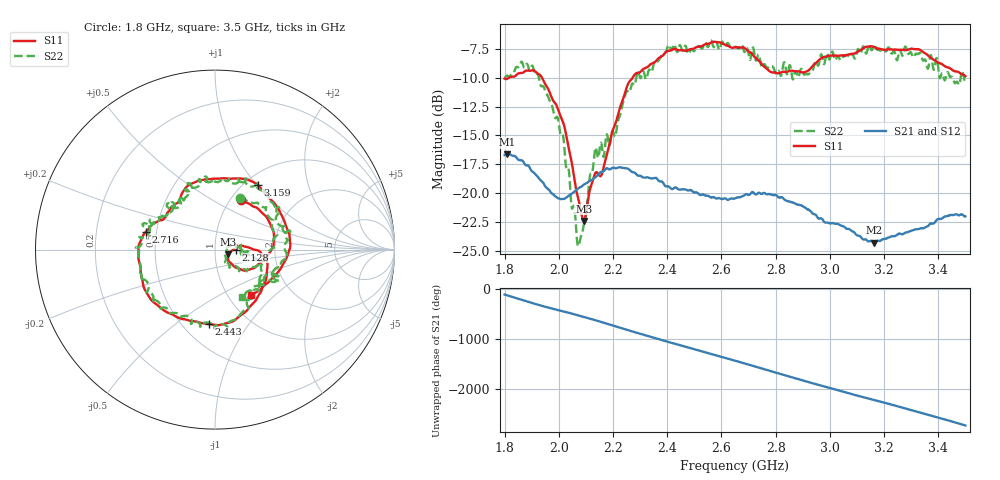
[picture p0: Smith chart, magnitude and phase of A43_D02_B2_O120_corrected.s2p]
! Created with skrf 1.9.0 (http://scikit-rf.org).
# Hz S RI R 50.0
!freq ReS11 ImS11 ReS21 ImS21 ReS12 ImS12 ReS22 ImS22
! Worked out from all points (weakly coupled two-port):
!   1601 points, 1.8 GHz to 3.5 GHz, reference 50 ohm
!   highest |S21| = -16.62 dB at 1.81 GHz (marker M1); lowest = -24.3 dB at 3.163 GHz (marker M2)
!   lowest |S11| = -22.4 dB at 2.092 GHz (marker M3), VSWR 1.16, Z = 57.6 - j3.02 ohm
!   |S11| at or under -10 dB: start of sweep to 1.816 GHz; 1.938 GHz to 2.272 GHz (334.3 MHz wide, 15.9 % of centre)
!   |S22| runs from -24.6 to -6.8 dB; largest |S21 - S12| = 0.0025
!   S11 on the Smith chart (normalised r, x): 1.8 GHz: 1.12, +0.69; 2.128 GHz: 1.26, +0.00; 2.443 GHz: 0.67, -0.67; 2.716 GHz: 0.44, +0.10; 3.159 GHz: 1.14, +1.01; 3.5 GHz: 1.27, -0.71
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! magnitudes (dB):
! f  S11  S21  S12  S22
! 1.8 GHz  -10.1  -16.7  -16.7  -10.0
! 1.81 GHz  -10.1  -16.6  -16.6  -9.8
! 1.864 GHz  -9.6  -17.2  -17.2  -8.6
! 1.951 GHz  -10.6  -19.4  -19.4  -11.2
! 2.019 GHz  -14.1  -20.5  -20.5  -15.6
! 2.07 GHz  -20.3  -19.6  -19.6  -24.6
! 2.084 GHz  -21.8  -19.4  -19.4  -23.6
! 2.092 GHz  -22.4  -19.3  -19.3  -22.7
! 2.128 GHz  -18.7  -18.7  -18.7  -17.3
! 2.16 GHz  -18.2  -18.1  -18.1  -16.2
! 2.209 GHz  -14.0  -17.8  -17.8  -15.0
! 2.258 GHz  -10.4  -17.9  -17.9  -11.3
! 2.367 GHz  -8.3  -18.9  -18.8  -8.5
! 2.443 GHz  -7.6  -19.7  -19.7  -7.4
! 2.65 GHz  -7.4  -20.5  -20.4  -7.3
! 2.716 GHz  -8.0  -19.9  -19.9  -7.4
! 2.789 GHz  -9.5  -20.2  -20.2  -9.0
! 2.934 GHz  -9.1  -21.7  -21.7  -9.5
! 3.159 GHz  -7.3  -24.2  -24.2  -7.4
! 3.163 GHz  -7.3  -24.3  -24.2  -7.2
! 3.217 GHz  -7.5  -23.8  -23.8  -7.4
! 3.5 GHz  -9.9  -22.0  -22.0  -10.4
